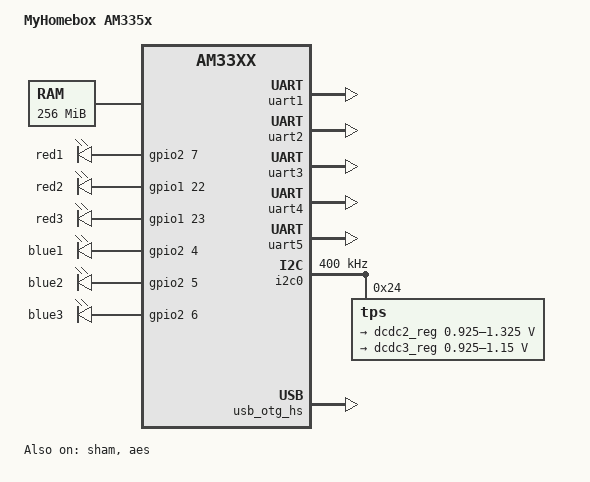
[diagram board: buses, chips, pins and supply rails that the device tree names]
/*
 * Copyright (C) 2012 Texas Instruments Incorporated - http://www.ti.com/
 *
 * This program is free software; you can redistribute it and/or modify
 * it under the terms of the GNU General Public License version 2 as
 * published by the Free Software Foundation.
 */

/include/ "am33xxhbox.dtsi"

/ {
	model = "MyHomebox AM335x";
	compatible = "ti,am335x-bone", "ti,am335x-boneblack","ti,am335x-myhomebox", "ti,am33xx";

	cpus {
		cpu@0 {
			cpu0-supply = <&dcdc2_reg>;
		};
	};

	memory {
		device_type = "memory";
		reg = <0x80000000 0x10000000>; /* 256 MB */
	};

	am33xx_pinmux: pinmux@44e10800 {
		pinctrl-names = "default";

		i2c0_pins: pinmux_i2c0_pins {
			pinctrl-single,pins = <
				0x188 0x70 	/* i2c0_sda, SLEWCTRL_SLOW | INPUT_PULLUP | MODE0 */
				0x18c 0x70	/* i2c0_scl, SLEWCTRL_SLOW | INPUT_PULLUP | MODE0 */
			>;
		};
	

	};

	ocp: ocp {

		uart1: serial@44e09000 {
			status = "okay";
		};

		uart2: serial@48022000 {
			status = "okay";
		};

		uart3: serial@48024000 {
			status = "okay";
		};

		uart4: serial@481a6000 {
			status = "okay";
		};

		uart5: serial@481a8000 {
			status = "okay";
		};
	
		rtc@44e3e000 {
			ti,system-power-controller;
		};
	};

	leds {
		compatible = "gpio-leds";

		led@1 {
			label = "red1";
			gpios = <&gpio2 7 0>;
			default-state = "on";
		};

		led@2 {
			label = "red2";
			gpios = <&gpio1 22 0>;
			default-state = "on";
		};

		led@3 {
			label = "red3";
			gpios = <&gpio1 23 0>;
			default-state = "on";
		};


		led@4 {
			label = "blue1";
			gpios = <&gpio2 4 0>;
			default-state = "off";
		};

		led@5 {
			label = "blue2";
			gpios = <&gpio2 5 0>;
			default-state = "off";
		};

		led@6 {
			label = "blue3";
			gpios = <&gpio2 6 0>;
			default-state = "off";
		};
	};

};

&i2c0 {
	status = "okay";
	clock-frequency = <400000>;
	pinctrl-names = "default";
	pinctrl-0 = <&i2c0_pins>;

	tps: tps@24 {
		reg = <0x24>;
	};

};

/include/ "tps65217.dtsi"

&tps {
	ti,pmic-shutdown-controller;

	interrupt-parent = <&intc>;
	interrupts = <7>;	/* NNMI */

	regulators {
		dcdc1_reg: regulator@0 {
			regulator-always-on;
		};

		dcdc2_reg: regulator@1 {
			/* VDD_MPU voltage limits 0.95V - 1.26V with +/-4% tolerance */
			regulator-name = "vdd_mpu";
			regulator-min-microvolt = <925000>;
			regulator-max-microvolt = <1325000>;
			regulator-boot-on;
			regulator-always-on;
		};

		dcdc3_reg: regulator@2 {
			/* VDD_CORE voltage limits 0.95V - 1.1V with +/-4% tolerance */
			regulator-name = "vdd_core";
			regulator-min-microvolt = <925000>;
			regulator-max-microvolt = <1150000>;
			regulator-boot-on;
			regulator-always-on;
		};

		ldo1_reg: regulator@3 {
			regulator-always-on;
		};

		ldo2_reg: regulator@4 {
			regulator-always-on;
		};

		ldo3_reg: regulator@5 {
			regulator-always-on;
		};

		ldo4_reg: regulator@6 {
			regulator-always-on;
		};
	};

};

&cpsw_emac0 {
	phy_id = <&davinci_mdio>, <0>;
};

&cpsw_emac1 {
	phy_id = <&davinci_mdio>, <1>;
};


&edma {
	ti,edma-xbar-event-map = <32 12>,	/* gpevt2 -> 12 */
				 <30 20>;	/* xdma_event_intr2 -> 20 */
};

&sham {
	status = "okay";
};

&aes {
	status = "okay";
};

&usb_otg_hs {
	interface_type = <1>;
	power = <250>;
	status = "okay";
};


